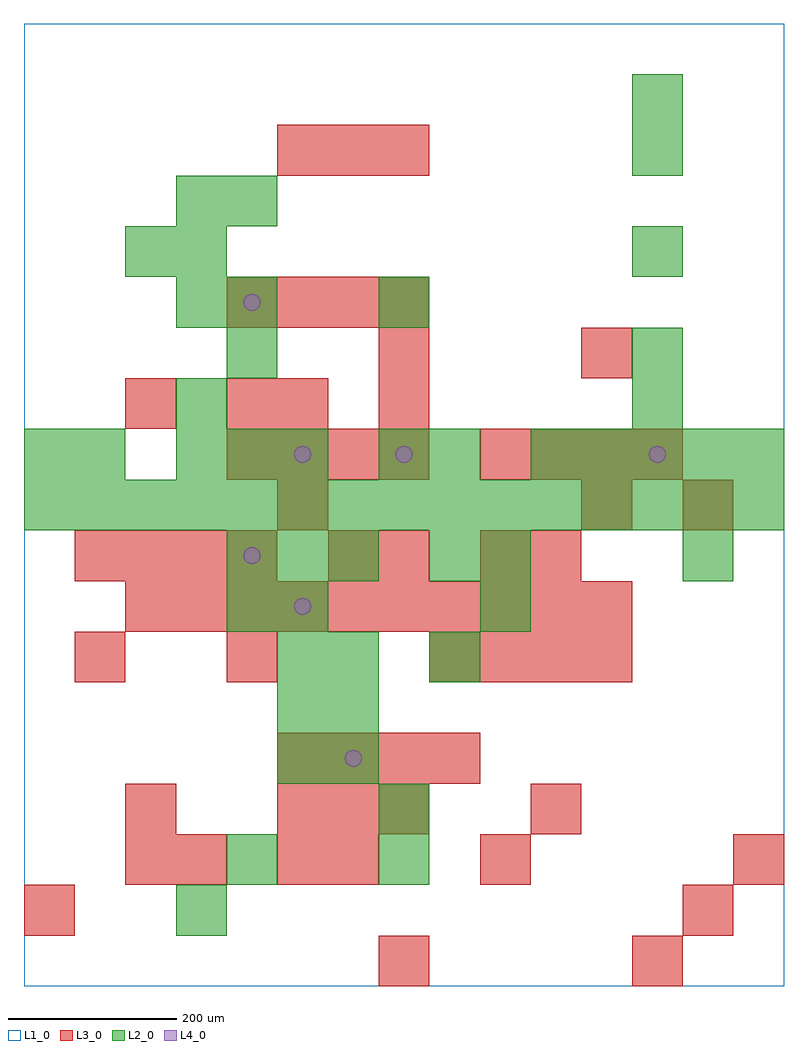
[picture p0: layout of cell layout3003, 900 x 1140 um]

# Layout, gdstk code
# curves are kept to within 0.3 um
import gdstk
lib = gdstk.Library(unit=1e-6, precision=1e-09)
def R(c, l, rs):  # rectangles x0, y0, x1, y1
    for r in rs: c.add(gdstk.rectangle(r[:2], r[2:], *l))
def A(c, l, x, y, w, h, nx, ny, dx, dy):  # array of equal rectangles
    R(c, l, [(x+i*dx, y+j*dy, x+i*dx+w, y+j*dy+h) for i in range(nx) for j in range(ny)])
def P(c, l, *ps):  # polygons
    for p in ps: c.add(gdstk.Polygon(p, *l))
L1_0 = (1, 0)
L2_0 = (2, 0)
L3_0 = (3, 0)
L4_0 = (4, 0)

layout3003 = lib.new_cell('layout3003')
R(layout3003, L1_0, [(0,0,900,1140)])
A(layout3003, L2_0, 240, 120, 60, 60, 1, 3, 0, 300)
A(layout3003, L2_0, 300, 240, 60, 60, 1, 4, 0, 60)
A(layout3003, L2_0, 360, 240, 60, 60, 1, 3, 0, 60)
A(layout3003, L2_0, 480, 360, 60, 60, 1, 3, 0, 120)
A(layout3003, L2_0, 240, 480, 60, 60, 3, 1, 60, 0)
A(layout3003, L2_0, 0, 540, 60, 60, 15, 1, 60, 0)
A(layout3003, L2_0, 180, 600, 60, 60, 3, 1, 60, 0)
A(layout3003, L2_0, 600, 600, 60, 60, 5, 1, 60, 0)
A(layout3003, L2_0, 720, 720, 60, 60, 1, 3, 0, 120)
A(layout3003, L2_0, 180, 780, 60, 60, 1, 3, 0, 60)
R(layout3003, L2_0, [(180,60,240,120), (420,120,480,180), (420,180,480,240), (540,420,600,480), (540,480,600,540), (780,480,840,540), (0,600,60,660), (60,600,120,660), (420,600,480,660), (180,660,240,720), (720,660,780,720), (240,780,300,840), (420,780,480,840), (120,840,180,900), (240,900,300,960), (720,1020,780,1080)])
A(layout3003, L3_0, 300, 180, 60, 60, 3, 2, 60, 780)
A(layout3003, L3_0, 300, 240, 60, 60, 4, 1, 60, 0)
A(layout3003, L3_0, 480, 360, 60, 60, 4, 1, 60, 0)
A(layout3003, L3_0, 120, 420, 60, 60, 10, 1, 60, 0)
A(layout3003, L3_0, 60, 480, 60, 60, 4, 1, 60, 0)
A(layout3003, L3_0, 240, 600, 60, 60, 4, 2, 60, 180)
A(layout3003, L3_0, 540, 600, 60, 60, 4, 1, 60, 0)
R(layout3003, L3_0, [(420,0,480,60), (720,0,780,60), (0,60,60,120), (780,60,840,120), (120,120,180,180), (180,120,240,180), (300,120,360,180), (360,120,420,180), (540,120,600,180), (840,120,900,180), (120,180,180,240), (600,180,660,240), (60,360,120,420), (240,360,300,420), (360,480,420,540), (420,480,480,540), (540,480,600,540), (600,480,660,540), (300,540,360,600), (660,540,720,600), (780,540,840,600), (120,660,180,720), (240,660,300,720), (300,660,360,720), (420,660,480,720), (420,720,480,780), (660,720,720,780)])
P(layout3003, L4_0, [(280,510),(279.239,513.827),(277.071,517.071),(273.827,519.239),(270,520),(266.173,519.239),(262.929,517.071),(260.761,513.827),(260,510),(260.761,506.173),(262.929,502.929),(266.173,500.761),(270,500),(273.827,500.761),(277.071,502.929),(279.239,506.173)],
  [(280,810),(279.239,813.827),(277.071,817.071),(273.827,819.239),(270,820),(266.173,819.239),(262.929,817.071),(260.761,813.827),(260,810),(260.761,806.173),(262.929,802.929),(266.173,800.761),(270,800),(273.827,800.761),(277.071,802.929),(279.239,806.173)],
  [(340,450),(339.239,453.827),(337.071,457.071),(333.827,459.239),(330,460),(326.173,459.239),(322.929,457.071),(320.761,453.827),(320,450),(320.761,446.173),(322.929,442.929),(326.173,440.761),(330,440),(333.827,440.761),(337.071,442.929),(339.239,446.173)],
  [(340,630),(339.239,633.827),(337.071,637.071),(333.827,639.239),(330,640),(326.173,639.239),(322.929,637.071),(320.761,633.827),(320,630),(320.761,626.173),(322.929,622.929),(326.173,620.761),(330,620),(333.827,620.761),(337.071,622.929),(339.239,626.173)],
  [(400,270),(399.239,273.827),(397.071,277.071),(393.827,279.239),(390,280),(386.173,279.239),(382.929,277.071),(380.761,273.827),(380,270),(380.761,266.173),(382.929,262.929),(386.173,260.761),(390,260),(393.827,260.761),(397.071,262.929),(399.239,266.173)],
  [(460,630),(459.239,633.827),(457.071,637.071),(453.827,639.239),(450,640),(446.173,639.239),(442.929,637.071),(440.761,633.827),(440,630),(440.761,626.173),(442.929,622.929),(446.173,620.761),(450,620),(453.827,620.761),(457.071,622.929),(459.239,626.173)],
  [(760,630),(759.239,633.827),(757.071,637.071),(753.827,639.239),(750,640),(746.173,639.239),(742.929,637.071),(740.761,633.827),(740,630),(740.761,626.173),(742.929,622.929),(746.173,620.761),(750,620),(753.827,620.761),(757.071,622.929),(759.239,626.173)])

lib.write_gds('layout3003.gds')
